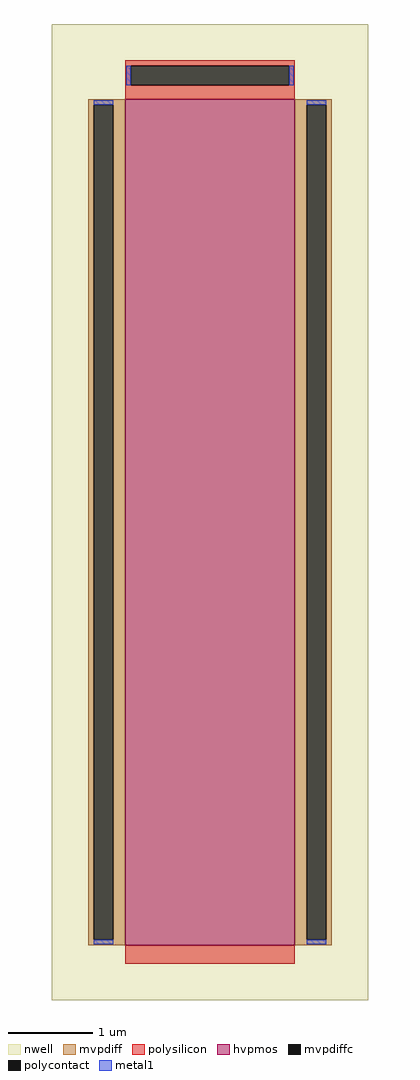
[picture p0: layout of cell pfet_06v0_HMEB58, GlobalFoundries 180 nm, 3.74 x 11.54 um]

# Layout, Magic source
magic
tech gf180mcuD
magscale 1 10
<< nwell >>
rect -374 -1154 374 1154
<< hvpmos >>
rect -200 -1024 200 976
<< mvpdiff >>
rect -288 963 -200 976
rect -288 -1011 -275 963
rect -229 -1011 -200 963
rect -288 -1024 -200 -1011
rect 200 963 288 976
rect 200 -1011 229 963
rect 275 -1011 288 963
rect 200 -1024 288 -1011
<< mvpdiffc >>
rect -275 -1011 -229 963
rect 229 -1011 275 963
<< polysilicon >>
rect -200 1055 200 1068
rect -200 1009 -187 1055
rect 187 1009 200 1055
rect -200 976 200 1009
rect -200 -1068 200 -1024
<< polycontact >>
rect -187 1009 187 1055
<< metal1 >>
rect -198 1009 -187 1055
rect 187 1009 198 1055
rect -275 963 -229 974
rect -275 -1022 -229 -1011
rect 229 963 275 974
rect 229 -1022 275 -1011
<< properties >>
string gencell pfet_06v0
string library gf180mcu
string parameters w 10 l 2 m 1 nf 1 diffcov 100 polycov 100 guard 0 glc 0 grc 0 gtc 0 gbc 0 tbcov 100 rlcov 100 topc 1 botc 0 poverlap 0 doverlap 1 lmin 0.55 wmin 0.3 class mosfet full_metal 0 compatible {pfet_03v3 pfet_05v0 pfet_06v0}
<< end >>
